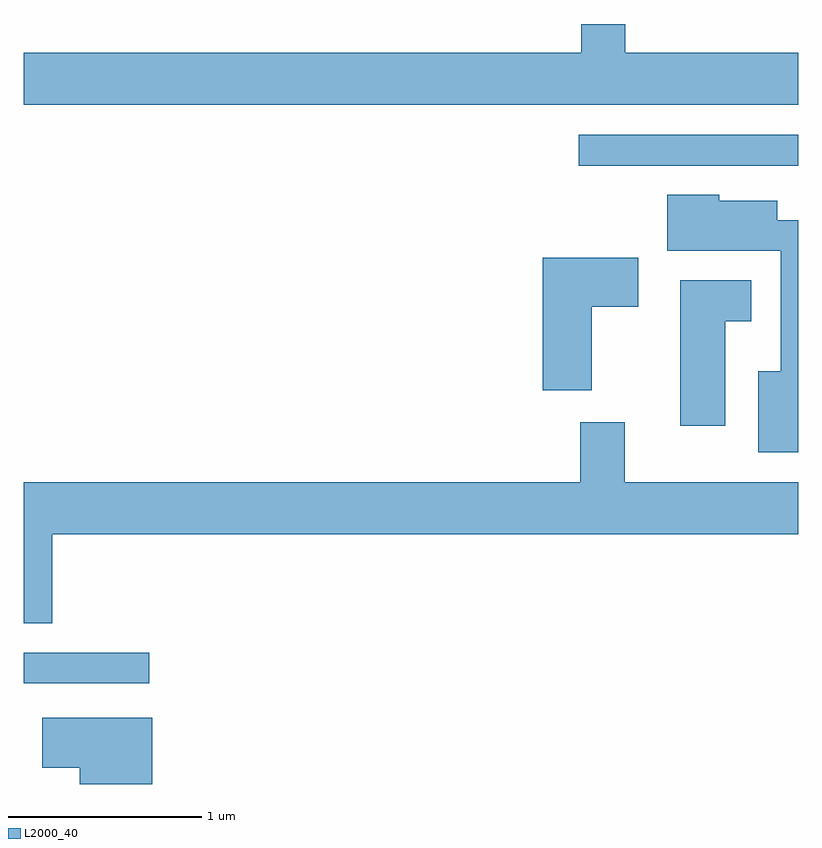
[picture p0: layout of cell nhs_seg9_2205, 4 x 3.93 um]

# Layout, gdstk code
import gdstk
lib = gdstk.Library(unit=1e-6, precision=1e-09)
def R(c, l, rs):  # rectangles x0, y0, x1, y1
    for r in rs: c.add(gdstk.rectangle(r[:2], r[2:], *l))
def P(c, l, *ps):  # polygons
    for p in ps: c.add(gdstk.Polygon(p, *l))
L2000_40 = (2000, 40)

nhs_seg9_2205 = lib.new_cell('nhs_seg9_2205')
R(nhs_seg9_2205, L2000_40, [(249.611,2011.026,250.258,2011.184), (252.478,2013.701,253.611,2013.859)])
P(nhs_seg9_2205, L2000_40, [(253.611,2014.284),(252.719,2014.284),(252.719,2014.432),(252.491,2014.432),(252.491,2014.284),(249.611,2014.284),(249.611,2014.016),(253.611,2014.016)],
  [(253.611,2013.419),(253.504,2013.419),(253.504,2013.519),(253.204,2013.519),(253.204,2013.549),(252.936,2013.549),(252.936,2013.261),(253.521,2013.261),(253.521,2012.639),(253.406,2012.639),(253.406,2012.221),(253.611,2012.221)],
  [(252.544,2012.971),(252.784,2012.971),(252.784,2013.224),(252.291,2013.224),(252.291,2012.541),(252.544,2012.541)],
  [(253.234,2012.896),(253.369,2012.896),(253.369,2013.109),(253.001,2013.109),(253.001,2012.356),(253.234,2012.356)],
  [(249.759,2011.796),(253.611,2011.796),(253.611,2012.064),(252.714,2012.064),(252.714,2012.374),(252.486,2012.374),(252.486,2012.064),(249.611,2012.064),(249.611,2011.336),(249.759,2011.336)],
  [(250.274,2010.849),(249.706,2010.849),(249.706,2010.591),(249.901,2010.591),(249.901,2010.506),(250.274,2010.506)])

lib.write_gds('nhs_seg9_2205.gds')
